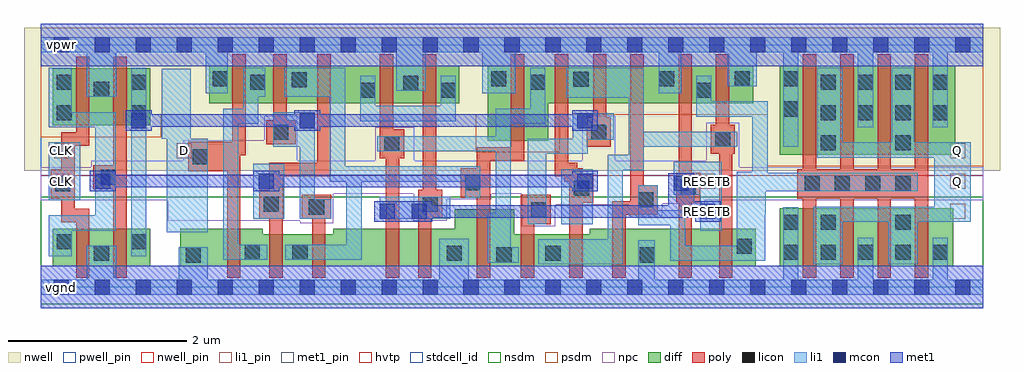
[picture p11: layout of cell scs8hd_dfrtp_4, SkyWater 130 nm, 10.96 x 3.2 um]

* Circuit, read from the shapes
.subckt scs8hd_dfrtp_4 CLK D Q RESETB vgnd vnb vpb vpwr
XM1 vgnd CLK n1 vnb sky130_fd_pr__nfet_01v8 w=0.42 l=0.15
XM2 n2 n1 vgnd vnb sky130_fd_pr__nfet_01v8 w=0.42 l=0.15
XM3 n3 D vgnd vnb sky130_fd_pr__nfet_01v8 w=0.42 l=0.15
XM4 n4 n1 n3 vnb sky130_fd_pr__nfet_01v8 w=0.36 l=0.15
XM5 n5 n2 n4 vnb sky130_fd_pr__nfet_01v8 w=0.36 l=0.15
XM6 n6 n7 n5 vnb sky130_fd_pr__nfet_01v8 w=0.42 l=0.15
XM7 vgnd RESETB n6 vnb sky130_fd_pr__nfet_01v8 w=0.42 l=0.15
XM8 n7 n4 vgnd vnb sky130_fd_pr__nfet_01v8 w=0.64 l=0.15
XM9 n8 n2 n7 vnb sky130_fd_pr__nfet_01v8 w=0.36 l=0.15
XM10 n9 n1 n8 vnb sky130_fd_pr__nfet_01v8 w=0.36 l=0.15
XM11 vgnd n10 n9 vnb sky130_fd_pr__nfet_01v8 w=0.42 l=0.15
XM12 n11 RESETB vgnd vnb sky130_fd_pr__nfet_01v8 w=0.42 l=0.15
XM13 n10 n8 n11 vnb sky130_fd_pr__nfet_01v8 w=0.42 l=0.15
XM14 Q n10 vgnd vnb sky130_fd_pr__nfet_01v8 w=0.65 l=0.15 m=4
XM15 vpwr CLK n1 vpb sky130_fd_pr__pfet_01v8_hvt w=0.64 l=0.15
XM16 n2 n1 vpwr vpb sky130_fd_pr__pfet_01v8_hvt w=0.64 l=0.15
XM17 n3 D vpwr vpb sky130_fd_pr__pfet_01v8_hvt w=0.42 l=0.15
XM18 n4 n2 n3 vpb sky130_fd_pr__pfet_01v8_hvt w=0.42 l=0.15
XM19 n12 n1 n4 vpb sky130_fd_pr__pfet_01v8_hvt w=0.42 l=0.15
XM20 vpwr n7 n12 vpb sky130_fd_pr__pfet_01v8_hvt w=0.42 l=0.15
XM21 n12 RESETB vpwr vpb sky130_fd_pr__pfet_01v8_hvt w=0.42 l=0.15
XM22 n7 n4 vpwr vpb sky130_fd_pr__pfet_01v8_hvt w=0.84 l=0.15
XM23 n8 n1 n7 vpb sky130_fd_pr__pfet_01v8_hvt w=0.42 l=0.15
XM24 n13 n2 n8 vpb sky130_fd_pr__pfet_01v8_hvt w=0.42 l=0.15
XM25 vpwr n10 n13 vpb sky130_fd_pr__pfet_01v8_hvt w=0.42 l=0.15
XM26 n10 RESETB vpwr vpb sky130_fd_pr__pfet_01v8_hvt w=0.42 l=0.15
XM27 vpwr n8 n10 vpb sky130_fd_pr__pfet_01v8_hvt w=0.42 l=0.15
XM28 Q n10 vpwr vpb sky130_fd_pr__pfet_01v8_hvt w=1 l=0.15 m=4
.ends

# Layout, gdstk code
import gdstk
lib = gdstk.Library(unit=1e-6, precision=1e-09)
def R(c, l, rs):  # rectangles x0, y0, x1, y1
    for r in rs: c.add(gdstk.rectangle(r[:2], r[2:], *l))
def A(c, l, x, y, w, h, nx, ny, dx, dy):  # array of equal rectangles
    R(c, l, [(x+i*dx, y+j*dy, x+i*dx+w, y+j*dy+h) for i in range(nx) for j in range(ny)])
def P(c, l, *ps):  # polygons
    for p in ps: c.add(gdstk.Polygon(p, *l))
nwell_pin = (64, 16)
nwell = (64, 20)
diff = (65, 20)
poly = (66, 20)
licon = (66, 44)
li1_pin = (67, 16)
li1 = (67, 20)
mcon = (67, 44)
met1_pin = (68, 16)
met1 = (68, 20)
hvtp = (78, 44)
stdcell_id = (81, 4)
nsdm = (93, 44)
psdm = (94, 20)
npc = (95, 20)
pwell_pin = (122, 16)

scs8hd_dfrtp_4 = lib.new_cell('scs8hd_dfrtp_4')
R(scs8hd_dfrtp_4, nwell_pin, [(0.145,2.635,0.315,2.805)])
R(scs8hd_dfrtp_4, nwell, [(-0.19,1.305,10.77,2.91)])
R(scs8hd_dfrtp_4, diff, [(0.135,0.235,1.225,0.655), (8.295,0.235,10.245,0.885), (8.295,1.485,10.27,2.485), (0.135,1.815,1.225,2.455), (3.305,2.065,4.7,2.485)])
P(scs8hd_dfrtp_4, diff, [(8,2.485),(5.015,2.485),(5.015,1.645),(5.695,1.645),(5.695,2.065),(8,2.065)],
  [(8.025,0.655),(6.165,0.655),(6.165,0.595),(5.315,0.595),(5.315,0.875),(4.645,0.875),(4.645,0.655),(3.285,0.655),(3.285,0.595),(2.49,0.595),(2.49,0.655),(1.565,0.655),(1.565,0.235),(8.025,0.235)],
  [(3.335,2.485),(1.89,2.485),(1.89,2.065),(3.33,2.065),(3.33,2.48),(3.335,2.48)])
R(scs8hd_dfrtp_4, poly, [(3.875,0.105,4.025,1.515), (4.29,1.055,4.44,2.615), (3.805,1.445,4.08,1.775), (3.805,1.76,3.955,2.615)])
P(scs8hd_dfrtp_4, poly, [(7.79,1.825),(7.73,1.825),(7.73,2.615),(7.58,2.615),(7.58,1.825),(7.52,1.825),(7.52,1.495),(7.615,1.495),(7.615,0.105),(7.765,0.105),(7.765,1.495),(7.79,1.495)],
  [(0.545,0.88),(0.38,0.88),(0.38,1.59),(0.545,1.59),(0.545,2.585),(0.395,2.585),(0.395,1.74),(0.23,1.74),(0.23,1.325),(0.11,1.325),(0.11,0.995),(0.23,0.995),(0.23,0.73),(0.395,0.73),(0.395,0.105),(0.545,0.105)],
  [(0.965,2.585),(0.815,2.585),(0.815,1.37),(0.59,1.37),(0.59,1.1),(0.815,1.1),(0.815,0.105),(0.965,0.105)],
  [(2.3,2.615),(2.15,2.615),(2.15,1.63),(1.655,1.63),(1.655,1.3),(2.09,1.3),(2.09,0.105),(2.24,0.105),(2.24,1.48),(2.3,1.48)],
  [(3.255,2.615),(3.105,2.615),(3.105,1.395),(2.565,1.395),(2.565,1.095),(2.45,1.095),(2.45,0.765),(2.565,0.765),(2.565,0.105),(2.715,0.105),(2.715,0.765),(2.72,0.765),(2.72,1.245),(3.255,1.245)],
  [(2.86,1.875),(2.76,1.875),(2.76,2.615),(2.61,2.615),(2.61,1.875),(2.53,1.875),(2.53,1.605),(2.86,1.605)],
  [(3.26,1.035),(2.93,1.035),(2.93,0.765),(3.045,0.765),(3.045,0.105),(3.195,0.105),(3.195,0.765),(3.26,0.765)],
  [(4.505,1.095),(4.235,1.095),(4.235,0.105),(4.385,0.105),(4.385,0.765),(4.505,0.765)],
  [(5.425,2.615),(5.275,2.615),(5.275,1.57),(4.895,1.57),(4.895,1.335),(4.715,1.335),(4.715,1.005),(4.895,1.005),(4.895,0.105),(5.045,0.105),(5.045,1.42),(5.425,1.42)],
  [(5.725,1.035),(5.39,1.035),(5.39,0.105),(5.54,0.105),(5.54,0.705),(5.725,0.705)],
  [(6.205,1.275),(6.085,1.275),(6.085,1.335),(6.02,1.335),(6.02,1.395),(5.92,1.395),(5.92,2.615),(5.77,2.615),(5.77,1.245),(5.875,1.245),(5.875,1.185),(5.935,1.185),(5.935,0.105),(6.085,0.105),(6.085,0.945),(6.205,0.945)],
  [(6.4,1.905),(6.35,1.905),(6.35,2.615),(6.2,2.615),(6.2,1.905),(6.13,1.905),(6.13,1.575),(6.4,1.575)],
  [(6.925,1.145),(6.77,1.145),(6.77,2.615),(6.62,2.615),(6.62,0.965),(6.415,0.965),(6.415,0.105),(6.565,0.105),(6.565,0.815),(6.925,0.815)],
  [(7.405,1.285),(7.31,1.285),(7.31,2.615),(7.16,2.615),(7.16,1.285),(7.135,1.285),(7.135,0.955),(7.16,0.955),(7.16,0.105),(7.31,0.105),(7.31,0.955),(7.405,0.955)],
  [(9.965,2.615),(9.815,2.615),(9.815,1.325),(9.545,1.325),(9.545,2.615),(9.395,2.615),(9.395,1.325),(9.125,1.325),(9.125,2.615),(8.975,2.615),(8.975,1.325),(8.705,1.325),(8.705,2.615),(8.555,2.615),(8.555,1.325),(8.495,1.325),(8.495,0.995),(8.555,0.995),(8.555,0.105),(8.705,0.105),(8.705,0.995),(8.975,0.995),(8.975,0.105),(9.125,0.105),(9.125,0.995),(9.395,0.995),(9.395,0.105),(9.545,0.105),(9.545,0.995),(9.815,0.995),(9.815,0.105),(9.965,0.105)])
A(scs8hd_dfrtp_4, licon, 8.335, 0.305, 0.17, 0.17, 5, 1, 0.42, 0)
A(scs8hd_dfrtp_4, licon, 8.575, 1.075, 0.17, 0.17, 4, 1, 0.34, 0)
A(scs8hd_dfrtp_4, licon, 8.755, 1.875, 0.17, 0.17, 4, 2, 0.42, 0.34)
R(scs8hd_dfrtp_4, licon, [(1.625,0.275,1.795,0.445), (5.115,0.275,5.285,0.445), (6.725,0.275,6.895,0.445), (0.595,0.295,0.765,0.465), (4.555,0.295,4.725,0.465), (5.665,0.295,5.835,0.465), (2.29,0.305,2.46,0.475), (2.825,0.305,2.995,0.475), (7.815,0.375,7.985,0.545), (0.175,0.425,0.345,0.595), (1.015,0.425,1.185,0.595), (8.335,0.645,8.505,0.815), (8.755,0.645,8.925,0.815), (9.595,0.645,9.765,0.815), (5.505,0.785,5.675,0.955), (3.01,0.815,3.18,0.985), (2.5,0.845,2.67,1.015), (4.285,0.845,4.455,1.015), (6.705,0.895,6.875,1.065), (5.985,1.025,6.155,1.195), (7.185,1.035,7.355,1.205), (0.16,1.075,0.33,1.245), (4.765,1.085,4.935,1.255), (0.67,1.15,0.84,1.32), (1.705,1.38,1.875,1.55), (3.855,1.525,4.025,1.695), (8.755,1.535,8.925,1.705), (9.595,1.535,9.765,1.705), (7.57,1.575,7.74,1.745), (2.61,1.655,2.78,1.825), (6.18,1.655,6.35,1.825), (0.175,1.875,0.345,2.045), (1.015,1.875,1.185,2.045), (8.335,1.915,8.505,2.085), (3.585,2.125,3.755,2.295), (4.49,2.125,4.66,2.295), (7.36,2.125,7.53,2.295), (0.595,2.135,0.765,2.305), (4.07,2.205,4.24,2.375), (0.175,2.215,0.345,2.385), (1.015,2.215,1.185,2.385), (2.35,2.215,2.52,2.385), (5.495,2.215,5.665,2.385), (2.815,2.245,2.985,2.415), (5.98,2.25,6.15,2.42), (1.93,2.255,2.1,2.425), (5.055,2.255,5.225,2.425), (6.94,2.255,7.11,2.425), (7.79,2.255,7.96,2.425), (8.335,2.255,8.505,2.425)])
A(scs8hd_dfrtp_4, li1_pin, 10.21, 0.765, 0.17, 0.17, 1, 3, 0, 0.34)
R(scs8hd_dfrtp_4, li1_pin, [(7.405,0.765,7.575,0.935), (0.15,1.105,0.32,1.275), (7.405,1.105,7.575,1.275), (0.15,1.445,0.32,1.615), (1.525,1.445,1.695,1.615)])
R(scs8hd_dfrtp_4, li1, [(0,-0.085,9.2,0.085), (9.175,-0.085,9.345,0.555), (10.015,-0.085,10.185,0.555), (8.335,-0.04,8.505,0.895), (1.545,-0.03,1.875,0.445), (4.475,0.055,4.805,0.545), (0.515,0.06,0.845,0.465), (6.705,0.065,6.895,0.525), (1.015,0.345,1.185,2.465), (1.415,0.615,1.875,1.665), (5.845,0.705,6.195,1.325), (2.385,0.765,2.735,1.385), (3.805,0.765,4.595,1.015), (0.09,0.975,0.44,1.625), (3.775,1.525,5.13,1.695), (8.335,1.575,8.505,2.72), (1.355,1.665,1.68,2.45), (9.175,1.795,9.345,2.72), (10.015,1.795,10.185,2.72), (0.515,2.135,0.845,2.665), (4.955,2.175,5.325,2.675), (6.94,2.175,7.19,2.69), (3.99,2.205,4.32,2.69), (7.71,2.255,8.04,2.7)])
P(scs8hd_dfrtp_4, li1, [(0.84,1.965),(0.345,1.965),(0.345,2.465),(0.09,2.465),(0.09,1.795),(0.61,1.795),(0.61,0.805),(0.09,0.805),(0.09,0.345),(0.345,0.345),(0.345,0.635),(0.84,0.635)],
  [(2.54,0.475),(2.215,0.475),(2.215,1.835),(2.44,1.835),(2.44,2.135),(2.52,2.135),(2.52,2.465),(2.27,2.465),(2.27,2.005),(2.045,2.005),(2.045,0.305),(2.54,0.305)],
  [(3.26,0.985),(3.075,0.985),(3.075,1.965),(2.61,1.965),(2.61,1.575),(2.905,1.575),(2.905,0.765),(3.26,0.765)],
  [(4.935,1.355),(3.415,1.355),(3.415,2.465),(2.735,2.465),(2.735,2.135),(3.245,2.135),(3.245,1.185),(3.43,1.185),(3.43,0.475),(2.745,0.475),(2.745,0.305),(3.6,0.305),(3.6,1.185),(4.765,1.185),(4.765,1.005),(4.935,1.005)],
  [(5.665,2.465),(5.495,2.465),(5.495,2.005),(5.105,2.005),(5.105,0.835),(5.015,0.835),(5.015,0.275),(5.365,0.275),(5.365,0.445),(5.275,0.445),(5.275,1.835),(5.665,1.835)],
  [(6.43,1.955),(5.97,1.955),(5.97,1.665),(5.465,1.665),(5.465,0.705),(5.675,0.705),(5.675,1.495),(6.14,1.495),(6.14,1.655),(6.43,1.655)],
  [(7.645,1.405),(7.105,1.405),(7.105,1.035),(7.405,1.035),(7.405,0.635),(7.645,0.635)],
  [(7.82,1.745),(6.77,1.745),(6.77,2.465),(5.9,2.465),(5.9,2.125),(6.6,2.125),(6.6,1.485),(6.365,1.485),(6.365,0.535),(5.585,0.535),(5.585,0.255),(6.535,0.255),(6.535,1.315),(6.77,1.315),(6.77,1.575),(7.82,1.575)],
  [(9.2,2.805),(0,2.805),(0,2.635),(1.85,2.635),(1.85,2.175),(2.1,2.175),(2.1,2.635),(9.2,2.635)],
  [(9.845,1.285),(8.16,1.285),(8.16,2.085),(7.53,2.085),(7.53,2.375),(7.36,2.375),(7.36,1.915),(7.99,1.915),(7.99,1.295),(7.815,1.295),(7.815,0.465),(7.235,0.465),(7.235,0.865),(6.925,0.865),(6.925,1.145),(6.705,1.145),(6.705,0.695),(7.065,0.695),(7.065,0.295),(8.135,0.295),(8.135,0.82),(8.14,0.82),(8.14,1.075),(9.845,1.075)],
  [(10.44,1.625),(9.805,1.625),(9.805,2.465),(9.555,2.465),(9.555,1.625),(9.005,1.625),(9.005,2.465),(8.715,2.465),(8.715,1.455),(10.03,1.455),(10.03,0.905),(8.675,0.905),(8.675,0.255),(9.005,0.255),(9.005,0.735),(9.515,0.735),(9.515,0.255),(9.845,0.255),(9.845,0.735),(10.44,0.735)],
  [(4.66,2.375),(4.49,2.375),(4.49,2.035),(3.755,2.035),(3.755,2.375),(3.585,2.375),(3.585,1.865),(4.66,1.865)])
A(scs8hd_dfrtp_4, mcon, 0.145, -0.085, 0.17, 0.17, 23, 2, 0.46, 2.72)
R(scs8hd_dfrtp_4, mcon, [(3.805,0.765,3.975,0.935), (4.165,0.765,4.335,0.935), (7.405,0.765,7.575,0.935), (7.105,1.08,7.275,1.25), (0.61,1.105,0.78,1.275), (2.445,1.105,2.615,1.275), (6.025,1.105,6.195,1.275), (1.015,1.785,1.185,1.955), (2.905,1.785,3.075,1.955), (6.025,1.785,6.195,1.955)])
R(scs8hd_dfrtp_4, met1_pin, [(0.145,-0.085,0.315,0.085), (0.145,2.635,0.315,2.805)])
R(scs8hd_dfrtp_4, met1, [(7.045,0.91,7.335,1.28), (0.55,1.075,0.84,1.305), (5.965,1.075,6.255,1.305), (0.955,1.755,1.245,1.985), (5.965,1.755,6.255,1.985)])
P(scs8hd_dfrtp_4, met1, [(7.635,0.965),(7.335,0.965),(7.335,0.92),(4.395,0.92),(4.395,0.965),(3.745,0.965),(3.745,0.735),(4.395,0.735),(4.395,0.78),(7.345,0.78),(7.345,0.735),(7.635,0.735)],
  [(6.075,1.94),(3.135,1.94),(3.135,1.985),(2.845,1.985),(2.845,1.94),(1.185,1.94),(1.185,1.8),(2.845,1.8),(2.845,1.755),(3.135,1.755),(3.135,1.8),(6.075,1.8)],
  [(6.045,1.26),(2.675,1.26),(2.675,1.305),(2.385,1.305),(2.385,1.26),(0.82,1.26),(0.82,1.12),(2.385,1.12),(2.385,1.075),(2.675,1.075),(2.675,1.12),(6.045,1.12)])
A(scs8hd_dfrtp_4, hvtp, 9.2, 1.25, 0.46, 1.47, 3, 1, 0.46, 0)
R(scs8hd_dfrtp_4, hvtp, [(0,1.25,9.2,2.72)])
R(scs8hd_dfrtp_4, stdcell_id, [(0,0,10.58,2.72)])
R(scs8hd_dfrtp_4, nsdm, [(0,-0.19,10.58,1.015)])
P(scs8hd_dfrtp_4, psdm, [(10.58,2.91),(0,2.91),(0,1.685),(1.35,1.685),(1.35,1.935),(4.885,1.935),(4.885,1.515),(5.825,1.515),(5.825,1.935),(8.155,1.935),(8.155,1.355),(10.58,1.355)])
R(scs8hd_dfrtp_4, npc, [(3.755,1.365,4.195,1.795)])
P(scs8hd_dfrtp_4, npc, [(10.58,1.345),(7.84,1.345),(7.84,1.845),(7.47,1.845),(7.47,1.42),(6.45,1.42),(6.45,1.925),(6.08,1.925),(6.08,1.42),(2.88,1.42),(2.88,1.925),(2.51,1.925),(2.51,1.65),(1.6,1.65),(1.6,1.42),(0.565,1.42),(0.565,1.345),(0,1.345),(0,0.975),(1.425,0.975),(1.425,0.745),(2.91,0.745),(2.91,0.715),(3.28,0.715),(3.28,1.05),(4.185,1.05),(4.185,0.745),(4.555,0.745),(4.555,0.985),(5.055,0.985),(5.055,1.05),(5.405,1.05),(5.405,0.685),(5.775,0.685),(5.775,0.925),(6.605,0.925),(6.605,0.795),(6.975,0.795),(6.975,0.935),(7.455,0.935),(7.455,0.975),(10.58,0.975)])
R(scs8hd_dfrtp_4, pwell_pin, [(0.145,-0.085,0.315,0.085)])
scs8hd_dfrtp_4.add(gdstk.FlexPath([(0,0),(9.2,0)], 0.48, ends="flush", simple_path=True, layer=68, datatype=20))  # met1
scs8hd_dfrtp_4.add(gdstk.FlexPath([(0,2.72),(9.2,2.72)], 0.48, ends="flush", simple_path=True, layer=68, datatype=20))  # met1
scs8hd_dfrtp_4.add(gdstk.FlexPath([(9.2,0),(9.66,0)], 0.48, ends="flush", simple_path=True, layer=68, datatype=20))  # met1
scs8hd_dfrtp_4.add(gdstk.FlexPath([(9.2,2.72),(9.66,2.72)], 0.48, ends="flush", simple_path=True, layer=68, datatype=20))  # met1
scs8hd_dfrtp_4.add(gdstk.FlexPath([(10.12,0),(10.58,0)], 0.48, ends="flush", simple_path=True, layer=68, datatype=20))  # met1
scs8hd_dfrtp_4.add(gdstk.FlexPath([(10.12,2.72),(10.58,2.72)], 0.48, ends="flush", simple_path=True, layer=68, datatype=20))  # met1
scs8hd_dfrtp_4.add(gdstk.FlexPath([(9.66,0),(10.12,0)], 0.48, ends="flush", simple_path=True, layer=68, datatype=20))  # met1
scs8hd_dfrtp_4.add(gdstk.FlexPath([(9.66,2.72),(10.12,2.72)], 0.48, ends="flush", simple_path=True, layer=68, datatype=20))  # met1
scs8hd_dfrtp_4.add(gdstk.FlexPath([(9.2,2.72),(9.66,2.72)], 0.17, ends="flush", simple_path=True, layer=67, datatype=20))  # li1
scs8hd_dfrtp_4.add(gdstk.FlexPath([(9.2,0),(9.66,0)], 0.17, ends="flush", simple_path=True, layer=67, datatype=20))  # li1
scs8hd_dfrtp_4.add(gdstk.FlexPath([(10.12,2.72),(10.58,2.72)], 0.17, ends="flush", simple_path=True, layer=67, datatype=20))  # li1
scs8hd_dfrtp_4.add(gdstk.FlexPath([(10.12,0),(10.58,0)], 0.17, ends="flush", simple_path=True, layer=67, datatype=20))  # li1
scs8hd_dfrtp_4.add(gdstk.FlexPath([(9.66,2.72),(10.12,2.72)], 0.17, ends="flush", simple_path=True, layer=67, datatype=20))  # li1
scs8hd_dfrtp_4.add(gdstk.FlexPath([(9.66,0),(10.12,0)], 0.17, ends="flush", simple_path=True, layer=67, datatype=20))  # li1
scs8hd_dfrtp_4.add(gdstk.Label('Q', (10.295,1.19), layer=67, texttype=5))
scs8hd_dfrtp_4.add(gdstk.Label('Q', (10.295,1.53), layer=67, texttype=5))
scs8hd_dfrtp_4.add(gdstk.Label('RESETB', (7.49,0.85), layer=67, texttype=5))
scs8hd_dfrtp_4.add(gdstk.Label('D', (1.61,1.53), layer=67, texttype=5))
scs8hd_dfrtp_4.add(gdstk.Label('CLK', (0.235,1.53), layer=67, texttype=5))
scs8hd_dfrtp_4.add(gdstk.Label('CLK', (0.235,1.19), layer=67, texttype=5))
scs8hd_dfrtp_4.add(gdstk.Label('RESETB', (7.49,1.19), layer=67, texttype=5))
scs8hd_dfrtp_4.add(gdstk.Label('vgnd', (0.23,0), layer=68, texttype=5))
scs8hd_dfrtp_4.add(gdstk.Label('vpwr', (0.23,2.72), layer=68, texttype=5))
scs8hd_dfrtp_4.add(gdstk.Label('vpb', (0.23,2.72), layer=64, texttype=5))
scs8hd_dfrtp_4.add(gdstk.Label('vnb', (0.23,0), layer=64, texttype=59))
scs8hd_dfrtp_4.add(gdstk.Label('scs8hd_dfrtp_4', (0,0), layer=83, texttype=44))

lib.write_gds('scs8hd_dfrtp_4.gds')
